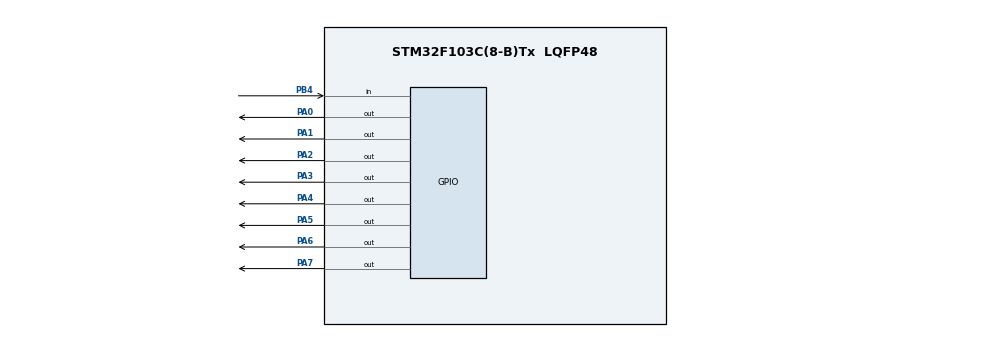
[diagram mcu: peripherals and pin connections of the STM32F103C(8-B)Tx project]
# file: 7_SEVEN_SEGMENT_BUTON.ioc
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Mcu.Family=STM32F1
Mcu.Name=STM32F103C(8-B)Tx
Mcu.Package=LQFP48
NVIC.PriorityGroup=NVIC_PRIORITYGROUP_4
PA0-WKUP.GPIO_PuPd=GPIO_NOPULL
PA0-WKUP.Signal=GPIO_Output
PA1.Signal=GPIO_Output
PA13.Mode=Serial_Wire
PA13.Signal=SYS_JTMS-SWDIO
PA14.Mode=Serial_Wire
PA14.Signal=SYS_JTCK-SWCLK
PA2.Signal=GPIO_Output
PA3.Signal=GPIO_Output
PA4.Signal=GPIO_Output
PA5.Signal=GPIO_Output
PA6.Signal=GPIO_Output
PA7.Signal=GPIO_Output
PB4.GPIO_PuPd=GPIO_PULLUP
PB4.Signal=GPIO_Input
PD0-OSC_IN.Mode=HSE-External-Oscillator
PD0-OSC_IN.Signal=RCC_OSC_IN
PD1-OSC_OUT.Mode=HSE-External-Oscillator
PD1-OSC_OUT.Signal=RCC_OSC_OUT
ProjectManager.HeapSize=0x200
ProjectManager.StackSize=0x400
ProjectManager.TargetToolchain=MDK-ARM V5.27
RCC.APB1Freq_Value=8000000
RCC.APB2Freq_Value=8000000
board=custom

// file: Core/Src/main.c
/* USER CODE BEGIN Header */
/**
  ******************************************************************************
  * @file           : main.c
  * @brief          : Main program body
  ******************************************************************************
  * @attention
  *
  * <h2><center>&copy; Copyright (c) 2021 STMicroelectronics.
  * All rights reserved.</center></h2>
  *
  * This software component is licensed by ST under BSD 3-Clause license,
  * the "License"; You may not use this file except in compliance with the
  * License. You may obtain a copy of the License at:
  *                        opensource.org/licenses/BSD-3-Clause
  *
  ******************************************************************************
  */
/* USER CODE END Header */
#include "main.h"

/* USER CODE BEGIN Includes */
/*#include "stdlib.h"*/

/* USER CODE END Includes */

/* USER CODE BEGIN PD */
int oku=0;

/* USER CODE END PD */

void SystemClock_Config(void);
static void MX_GPIO_Init(void);

/* USER CODE BEGIN 0 */
void delay(uint32_t time)
{
	while(time--);
	}
/* USER CODE END 0 */

int main(void)
{

  /* MCU Configuration--------------------------------------------------------*/

  /* Reset of all peripherals, Initializes the Flash interface and the Systick. */
  HAL_Init();

  /* Configure the system clock */
  SystemClock_Config();

  /* Initialize all configured peripherals */
  MX_GPIO_Init();

  /* Infinite loop */
  while (1)
  {

    /* USER CODE BEGIN 3 */
		if

			(HAL_GPIO_ReadPin(GPIOB,GPIO_PIN_4)==0)

{ /*while bas*/
	while(HAL_GPIO_ReadPin(GPIOB,GPIO_PIN_4))
HAL_Delay(1000);
	oku++;

  }/*while bitis*/
switch(oku)

{/*switchbas*/
	case 0:
	{/*case0bas*/
		HAL_GPIO_WritePin(GPIOA, GPIO_PIN_1, GPIO_PIN_SET);
			HAL_GPIO_WritePin(GPIOA, GPIO_PIN_2, GPIO_PIN_SET);
				HAL_GPIO_WritePin(GPIOA, GPIO_PIN_3, GPIO_PIN_SET);
				HAL_GPIO_WritePin(GPIOA, GPIO_PIN_4, GPIO_PIN_SET);
				HAL_GPIO_WritePin(GPIOA, GPIO_PIN_5, GPIO_PIN_SET);
				HAL_GPIO_WritePin(GPIOA, GPIO_PIN_6, GPIO_PIN_SET);
				HAL_GPIO_WritePin(GPIOA, GPIO_PIN_7, GPIO_PIN_RESET);
		break;
		}/*case0bitis*/
		case 1:
	{/*case1bas*/
		HAL_GPIO_WritePin(GPIOA, GPIO_PIN_1, GPIO_PIN_RESET);
			HAL_GPIO_WritePin(GPIOA, GPIO_PIN_2, GPIO_PIN_SET);
				HAL_GPIO_WritePin(GPIOA, GPIO_PIN_3, GPIO_PIN_SET);
				HAL_GPIO_WritePin(GPIOA, GPIO_PIN_4, GPIO_PIN_RESET);
				HAL_GPIO_WritePin(GPIOA, GPIO_PIN_5, GPIO_PIN_RESET);
				HAL_GPIO_WritePin(GPIOA, GPIO_PIN_6, GPIO_PIN_RESET);
				HAL_GPIO_WritePin(GPIOA, GPIO_PIN_7, GPIO_PIN_RESET);

		break;
		}/*case1bitis*/
		case 2:
	{/*case2bas*/
		HAL_GPIO_WritePin(GPIOA, GPIO_PIN_1, GPIO_PIN_SET);
			HAL_GPIO_WritePin(GPIOA, GPIO_PIN_2, GPIO_PIN_SET);
				HAL_GPIO_WritePin(GPIOA, GPIO_PIN_3, GPIO_PIN_RESET);
				HAL_GPIO_WritePin(GPIOA, GPIO_PIN_4, GPIO_PIN_SET);
				HAL_GPIO_WritePin(GPIOA, GPIO_PIN_5, GPIO_PIN_SET);
				HAL_GPIO_WritePin(GPIOA, GPIO_PIN_6, GPIO_PIN_RESET);
				HAL_GPIO_WritePin(GPIOA, GPIO_PIN_7, GPIO_PIN_SET);

		break;
		}/*case2bitis*/
case 3:
	{/*case3bas*/
		HAL_GPIO_WritePin(GPIOA, GPIO_PIN_1, GPIO_PIN_SET);
			HAL_GPIO_WritePin(GPIOA, GPIO_PIN_2, GPIO_PIN_SET);
				HAL_GPIO_WritePin(GPIOA, GPIO_PIN_3, GPIO_PIN_SET);
				HAL_GPIO_WritePin(GPIOA, GPIO_PIN_4, GPIO_PIN_SET);
				HAL_GPIO_WritePin(GPIOA, GPIO_PIN_5, GPIO_PIN_RESET);
				HAL_GPIO_WritePin(GPIOA, GPIO_PIN_6, GPIO_PIN_RESET);
				HAL_GPIO_WritePin(GPIOA, GPIO_PIN_7, GPIO_PIN_SET);

		break;
	}	/*case3bitis*/
case 4:
	{/*case4bas*/
		HAL_GPIO_WritePin(GPIOA, GPIO_PIN_1, GPIO_PIN_RESET);
			HAL_GPIO_WritePin(GPIOA, GPIO_PIN_2, GPIO_PIN_SET);
				HAL_GPIO_WritePin(GPIOA, GPIO_PIN_3, GPIO_PIN_SET);
				HAL_GPIO_WritePin(GPIOA, GPIO_PIN_4, GPIO_PIN_RESET);
				HAL_GPIO_WritePin(GPIOA, GPIO_PIN_5, GPIO_PIN_RESET);
				HAL_GPIO_WritePin(GPIOA, GPIO_PIN_6, GPIO_PIN_SET);
				HAL_GPIO_WritePin(GPIOA, GPIO_PIN_7, GPIO_PIN_SET);

		break;
	}	/*case4bitis*/
case 5:
{/*case5bas*/
HAL_GPIO_WritePin(GPIOA, GPIO_PIN_1, GPIO_PIN_SET);
			HAL_GPIO_WritePin(GPIOA, GPIO_PIN_2, GPIO_PIN_RESET);
				HAL_GPIO_WritePin(GPIOA, GPIO_PIN_3, GPIO_PIN_SET);
				HAL_GPIO_WritePin(GPIOA, GPIO_PIN_4, GPIO_PIN_SET);
				HAL_GPIO_WritePin(GPIOA, GPIO_PIN_5, GPIO_PIN_RESET);
				HAL_GPIO_WritePin(GPIOA, GPIO_PIN_6, GPIO_PIN_SET);
				HAL_GPIO_WritePin(GPIOA, GPIO_PIN_7, GPIO_PIN_SET);
		break;
}/*case5bitis*/
case 6:
{/*case6bas*/
HAL_GPIO_WritePin(GPIOA, GPIO_PIN_1, GPIO_PIN_SET);
			HAL_GPIO_WritePin(GPIOA, GPIO_PIN_2, GPIO_PIN_RESET);
				HAL_GPIO_WritePin(GPIOA, GPIO_PIN_3, GPIO_PIN_SET);
				HAL_GPIO_WritePin(GPIOA, GPIO_PIN_4, GPIO_PIN_SET);
				HAL_GPIO_WritePin(GPIOA, GPIO_PIN_5, GPIO_PIN_SET);
				HAL_GPIO_WritePin(GPIOA, GPIO_PIN_6, GPIO_PIN_SET);
				HAL_GPIO_WritePin(GPIOA, GPIO_PIN_7, GPIO_PIN_SET);
		break;
}/*case6bitis*/
case 7:
{/*case7bas*/
HAL_GPIO_WritePin(GPIOA, GPIO_PIN_1, GPIO_PIN_SET);
			HAL_GPIO_WritePin(GPIOA, GPIO_PIN_2, GPIO_PIN_SET);
				HAL_GPIO_WritePin(GPIOA, GPIO_PIN_3, GPIO_PIN_SET);
				HAL_GPIO_WritePin(GPIOA, GPIO_PIN_4, GPIO_PIN_RESET);
				HAL_GPIO_WritePin(GPIOA, GPIO_PIN_5, GPIO_PIN_RESET);
				HAL_GPIO_WritePin(GPIOA, GPIO_PIN_6, GPIO_PIN_RESET);
				HAL_GPIO_WritePin(GPIOA, GPIO_PIN_7, GPIO_PIN_RESET);
		break;
}/*case7bitis*/
case 8:
{/*case8bas*/
HAL_GPIO_WritePin(GPIOA, GPIO_PIN_1, GPIO_PIN_SET);
			HAL_GPIO_WritePin(GPIOA, GPIO_PIN_2, GPIO_PIN_SET);
				HAL_GPIO_WritePin(GPIOA, GPIO_PIN_3, GPIO_PIN_SET);
				HAL_GPIO_WritePin(GPIOA, GPIO_PIN_4, GPIO_PIN_SET);
				HAL_GPIO_WritePin(GPIOA, GPIO_PIN_5, GPIO_PIN_SET);
				HAL_GPIO_WritePin(GPIOA, GPIO_PIN_6, GPIO_PIN_SET);
				HAL_GPIO_WritePin(GPIOA, GPIO_PIN_7, GPIO_PIN_SET);
		break;
}/*case8bitis*/
case 9:
{/*case9bas*/
HAL_GPIO_WritePin(GPIOA, GPIO_PIN_1, GPIO_PIN_SET);
			HAL_GPIO_WritePin(GPIOA, GPIO_PIN_2, GPIO_PIN_SET);
				HAL_GPIO_WritePin(GPIOA, GPIO_PIN_3, GPIO_PIN_SET);
				HAL_GPIO_WritePin(GPIOA, GPIO_PIN_4, GPIO_PIN_SET);
				HAL_GPIO_WritePin(GPIOA, GPIO_PIN_5, GPIO_PIN_RESET);
				HAL_GPIO_WritePin(GPIOA, GPIO_PIN_6, GPIO_PIN_SET);
				HAL_GPIO_WritePin(GPIOA, GPIO_PIN_7, GPIO_PIN_SET);
		break;
}/*case9bitis*/
default:
{/*default baslangic*/
oku=0;
	break;

}/*default bitis*/

} /*switch bitis*/
  /* USER CODE END 3 */
}

void SystemClock_Config(void)
{
  RCC_OscInitTypeDef RCC_OscInitStruct = {0};
  RCC_ClkInitTypeDef RCC_ClkInitStruct = {0};

  /** Initializes the RCC Oscillators according to the specified parameters
  * in the RCC_OscInitTypeDef structure.
  */
  RCC_OscInitStruct.OscillatorType = RCC_OSCILLATORTYPE_HSI;
  RCC_OscInitStruct.HSIState = RCC_HSI_ON;
  RCC_OscInitStruct.HSICalibrationValue = RCC_HSICALIBRATION_DEFAULT;
  RCC_OscInitStruct.PLL.PLLState = RCC_PLL_NONE;
  if (HAL_RCC_OscConfig(&RCC_OscInitStruct) != HAL_OK)
  {
    Error_Handler();
  }
  /** Initializes the CPU, AHB and APB buses clocks
  */
  RCC_ClkInitStruct.ClockType = RCC_CLOCKTYPE_HCLK|RCC_CLOCKTYPE_SYSCLK
                              |RCC_CLOCKTYPE_PCLK1|RCC_CLOCKTYPE_PCLK2;
  RCC_ClkInitStruct.SYSCLKSource = RCC_SYSCLKSOURCE_HSI;
  RCC_ClkInitStruct.AHBCLKDivider = RCC_SYSCLK_DIV1;
  RCC_ClkInitStruct.APB1CLKDivider = RCC_HCLK_DIV1;
  RCC_ClkInitStruct.APB2CLKDivider = RCC_HCLK_DIV1;

  if (HAL_RCC_ClockConfig(&RCC_ClkInitStruct, FLASH_LATENCY_0) != HAL_OK)
  {
    Error_Handler();
  }
}

static void MX_GPIO_Init(void)
{
  GPIO_InitTypeDef GPIO_InitStruct = {0};

  /* GPIO Ports Clock Enable */
  __HAL_RCC_GPIOD_CLK_ENABLE();
  __HAL_RCC_GPIOA_CLK_ENABLE();
  __HAL_RCC_GPIOB_CLK_ENABLE();

  /*Configure GPIO pin Output Level */
  HAL_GPIO_WritePin(GPIOA, GPIO_PIN_0|GPIO_PIN_1|GPIO_PIN_2|GPIO_PIN_3
                          |GPIO_PIN_4|GPIO_PIN_5|GPIO_PIN_6|GPIO_PIN_7, GPIO_PIN_RESET);

  /*Configure GPIO pins : PA0 PA1 PA2 PA3
                           PA4 PA5 PA6 PA7 */
  GPIO_InitStruct.Pin = GPIO_PIN_0|GPIO_PIN_1|GPIO_PIN_2|GPIO_PIN_3
                          |GPIO_PIN_4|GPIO_PIN_5|GPIO_PIN_6|GPIO_PIN_7;
  GPIO_InitStruct.Mode = GPIO_MODE_OUTPUT_PP;
  GPIO_InitStruct.Pull = GPIO_NOPULL;
  GPIO_InitStruct.Speed = GPIO_SPEED_FREQ_LOW;
  HAL_GPIO_Init(GPIOA, &GPIO_InitStruct);

  /*Configure GPIO pin : PB4 */
  GPIO_InitStruct.Pin = GPIO_PIN_4;
  GPIO_InitStruct.Mode = GPIO_MODE_INPUT;
  GPIO_InitStruct.Pull = GPIO_PULLUP;
  HAL_GPIO_Init(GPIOB, &GPIO_InitStruct);

}

void Error_Handler(void)
{
  __disable_irq();
  while (1)
  {
  }
}

/************************ (C) COPYRIGHT STMicroelectronics *****END OF FILE****/
